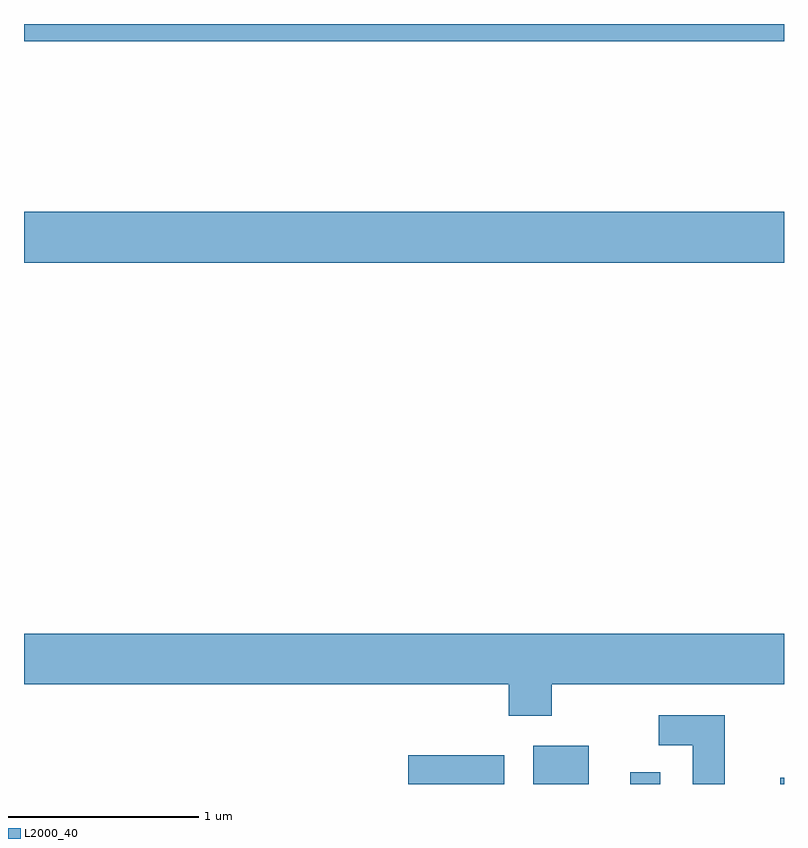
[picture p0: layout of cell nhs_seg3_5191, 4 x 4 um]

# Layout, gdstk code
import gdstk
lib = gdstk.Library(unit=1e-6, precision=1e-09)
def R(c, l, rs):  # rectangles x0, y0, x1, y1
    for r in rs: c.add(gdstk.rectangle(r[:2], r[2:], *l))
def P(c, l, *ps):  # polygons
    for p in ps: c.add(gdstk.Polygon(p, *l))
L2000_40 = (2000, 40)

nhs_seg3_5191 = lib.new_cell('nhs_seg3_5191')
R(nhs_seg3_5191, L2000_40, [(339.633,1169.892,340.139,1170.044), (340.291,1169.892,340.584,1170.094), (340.801,1169.892,340.959,1169.953), (341.591,1169.892,341.611,1169.924), (337.611,1172.636,341.611,1172.904), (337.611,1173.801,341.611,1173.892)])
P(nhs_seg3_5191, L2000_40, [(340.389,1170.416),(341.611,1170.416),(341.611,1170.684),(337.611,1170.684),(337.611,1170.416),(340.161,1170.416),(340.161,1170.251),(340.389,1170.251)],
  [(341.299,1170.254),(340.953,1170.254),(340.953,1170.096),(341.131,1170.096),(341.131,1169.892),(341.299,1169.892)])

lib.write_gds('nhs_seg3_5191.gds')
